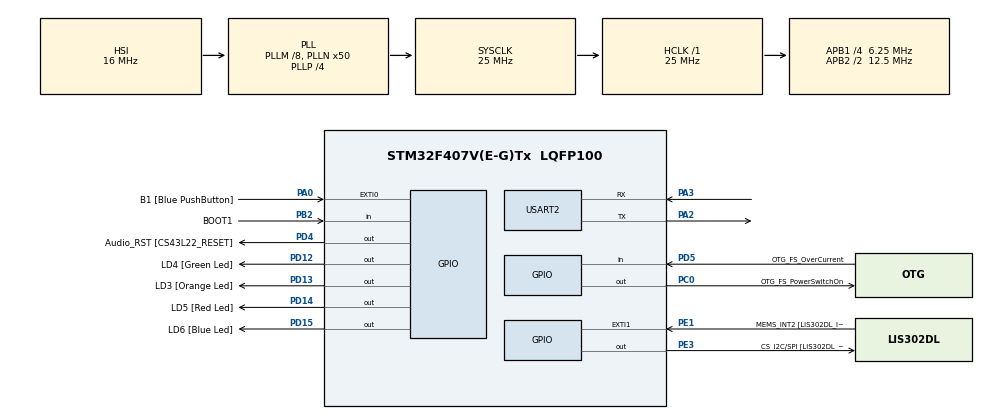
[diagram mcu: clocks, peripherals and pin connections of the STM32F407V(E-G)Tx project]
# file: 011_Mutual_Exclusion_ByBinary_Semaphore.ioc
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Mcu.Family=STM32F4
Mcu.Name=STM32F407V(E-G)Tx
Mcu.Package=LQFP100
NVIC.PriorityGroup=NVIC_PRIORITYGROUP_4
NVIC.TIM6_DAC_IRQn=true\:15\:0\:false\:false\:true\:false\:true\:true
NVIC.TimeBase=TIM6_DAC_IRQn
NVIC.TimeBaseIP=TIM6
PA0-WKUP.GPIO_Label=B1 [Blue PushButton]
PA0-WKUP.Signal=GPXTI0
PA10.GPIO_Label=OTG_FS_ID
PA10.GPIO_Mode=GPIO_MODE_AF_PP
PA10.GPIO_PuPd=GPIO_NOPULL
PA10.GPIO_Speed=GPIO_SPEED_FREQ_LOW
PA10.Signal=USB_OTG_FS_ID
PA11.GPIO_Label=OTG_FS_DM
PA11.GPIO_Mode=GPIO_MODE_AF_PP
PA11.GPIO_PuPd=GPIO_NOPULL
PA11.GPIO_Speed=GPIO_SPEED_FREQ_LOW
PA11.Signal=USB_OTG_FS_DM
PA12.GPIO_Label=OTG_FS_DP
PA12.GPIO_Mode=GPIO_MODE_AF_PP
PA12.GPIO_PuPd=GPIO_NOPULL
PA12.GPIO_Speed=GPIO_SPEED_FREQ_LOW
PA12.Signal=USB_OTG_FS_DP
PA13.GPIO_Label=SWDIO
PA13.Signal=SYS_JTMS-SWDIO
PA14.GPIO_Label=SWCLK
PA14.Signal=SYS_JTCK-SWCLK
PA2.Mode=Asynchronous
PA2.Signal=USART2_TX
PA3.Mode=Asynchronous
PA3.Signal=USART2_RX
PA4.GPIO_Label=I2S3_WS [CS43L22_LRCK]
PA4.GPIO_Mode=GPIO_MODE_AF_PP
PA4.GPIO_PuPd=GPIO_NOPULL
PA4.GPIO_Speed=GPIO_SPEED_FREQ_LOW
PA4.Signal=I2S3_WS
PA5.GPIO_Label=SPI1_SCK [LIS302DL_SCL/SPC]
PA5.GPIO_Mode=GPIO_MODE_AF_PP
PA5.GPIO_PuPd=GPIO_NOPULL
PA5.GPIO_Speed=GPIO_SPEED_FREQ_LOW
PA5.Signal=SPI1_SCK
PA6.GPIO_Label=SPI1_MISO [LIS302DL_SDO]
PA6.GPIO_Mode=GPIO_MODE_AF_PP
PA6.GPIO_PuPd=GPIO_NOPULL
PA6.GPIO_Speed=GPIO_SPEED_FREQ_LOW
PA6.Signal=SPI1_MISO
PA7.GPIO_Label=SPI1_MOSI [LIS302DL_SDA/SDI/SDO]
PA7.GPIO_Mode=GPIO_MODE_AF_PP
PA7.GPIO_PuPd=GPIO_NOPULL
PA7.GPIO_Speed=GPIO_SPEED_FREQ_LOW
PA7.Signal=SPI1_MOSI
PA9.GPIO_Label=VBUS_FS
PA9.GPIO_Mode=GPIO_MODE_INPUT
PA9.GPIO_PuPd=GPIO_NOPULL
PA9.Signal=USB_OTG_FS_VBUS
PB10.GPIO_Label=CLK_IN [MP45DT02_CLK]
PB10.GPIO_Mode=GPIO_MODE_AF_PP
PB10.GPIO_PuPd=GPIO_NOPULL
PB10.GPIO_Speed=GPIO_SPEED_FREQ_LOW
PB10.Signal=I2S2_CK
PB2.GPIO_Label=BOOT1
PB2.GPIO_Mode=GPIO_MODE_INPUT
PB2.GPIO_PuPd=GPIO_NOPULL
PB2.Signal=GPIO_Input
PB3.GPIO_Label=SWO
PB3.Signal=SYS_JTDO-SWO
PB6.GPIO_Label=Audio_SCL [CS43L22_SCL]
PB6.GPIO_Mode=GPIO_MODE_AF_OD
PB6.GPIO_PuPd=GPIO_NOPULL
PB6.GPIO_Speed=GPIO_SPEED_FREQ_LOW
PB6.Signal=I2C1_SCL
PB9.GPIO_Label=Audio_SDA [CS43L22_SDA]
PB9.GPIO_Mode=GPIO_MODE_AF_OD
PB9.GPIO_PuPd=GPIO_NOPULL
PB9.GPIO_Speed=GPIO_SPEED_FREQ_LOW
PB9.Signal=I2C1_SDA
PC0.GPIO_Label=OTG_FS_PowerSwitchOn
PC0.GPIO_PuPd=GPIO_NOPULL
PC0.GPIO_Speed=GPIO_SPEED_FREQ_LOW
PC0.PinState=GPIO_PIN_SET
PC0.Signal=GPIO_Output
PC10.GPIO_Label=I2S3_SCK [CS43L22_SCLK]
PC10.GPIO_Mode=GPIO_MODE_AF_PP
PC10.GPIO_PuPd=GPIO_NOPULL
PC10.GPIO_Speed=GPIO_SPEED_FREQ_LOW
PC10.Signal=I2S3_CK
PC12.GPIO_Label=I2S3_SD [CS43L22_SDIN]
PC12.GPIO_Mode=GPIO_MODE_AF_PP
PC12.GPIO_PuPd=GPIO_NOPULL
PC12.GPIO_Speed=GPIO_SPEED_FREQ_LOW
PC12.Signal=I2S3_SD
PC14-OSC32_IN.GPIO_Label=PC14-OSC32_IN
PC14-OSC32_IN.Signal=RCC_OSC32_IN
PC15-OSC32_OUT.GPIO_Label=PC15-OSC32_OUT
PC15-OSC32_OUT.Signal=RCC_OSC32_OUT
PC3.GPIO_Label=PDM_OUT [MP45DT02_DOUT]
PC3.GPIO_Mode=GPIO_MODE_AF_PP
PC3.GPIO_PuPd=GPIO_NOPULL
PC3.GPIO_Speed=GPIO_SPEED_FREQ_LOW
PC3.Signal=I2S2_SD
PC7.GPIO_Label=I2S3_MCK [CS43L22_MCLK]
PC7.GPIO_Mode=GPIO_MODE_AF_PP
PC7.GPIO_PuPd=GPIO_NOPULL
PC7.GPIO_Speed=GPIO_SPEED_FREQ_LOW
PC7.Signal=I2S3_MCK
PD12.GPIO_Label=LD4 [Green Led]
PD12.GPIO_PuPd=GPIO_NOPULL
PD12.GPIO_Speed=GPIO_SPEED_FREQ_LOW
PD12.Signal=GPIO_Output
PD13.GPIO_Label=LD3 [Orange Led]
PD13.GPIO_PuPd=GPIO_NOPULL
PD13.GPIO_Speed=GPIO_SPEED_FREQ_LOW
PD13.Signal=GPIO_Output
PD14.GPIO_Label=LD5 [Red Led]
PD14.GPIO_PuPd=GPIO_NOPULL
PD14.GPIO_Speed=GPIO_SPEED_FREQ_LOW
PD14.Signal=GPIO_Output
PD15.GPIO_Label=LD6 [Blue Led]
PD15.GPIO_PuPd=GPIO_NOPULL
PD15.GPIO_Speed=GPIO_SPEED_FREQ_LOW
PD15.Signal=GPIO_Output
PD4.GPIO_Label=Audio_RST [CS43L22_RESET]
PD4.GPIO_PuPd=GPIO_NOPULL
PD4.GPIO_Speed=GPIO_SPEED_FREQ_LOW
PD4.Signal=GPIO_Output
PD5.GPIO_Label=OTG_FS_OverCurrent
PD5.GPIO_Mode=GPIO_MODE_INPUT
PD5.GPIO_PuPd=GPIO_NOPULL
PD5.Signal=GPIO_Input
PE1.GPIO_Label=MEMS_INT2 [LIS302DL_INT2]
PE1.GPIO_ModeDefaultEXTI=GPIO_MODE_EVT_RISING
PE1.GPIO_PuPd=GPIO_NOPULL
PE1.Signal=GPXTI1
PE3.GPIO_Label=CS_I2C/SPI [LIS302DL_CS_I2C/SPI]
PE3.GPIO_PuPd=GPIO_NOPULL
PE3.GPIO_Speed=GPIO_SPEED_FREQ_LOW
PE3.Signal=GPIO_Output
PH0-OSC_IN.GPIO_Label=PH0-OSC_IN
PH0-OSC_IN.Signal=RCC_OSC_IN
PH1-OSC_OUT.GPIO_Label=PH1-OSC_OUT
PH1-OSC_OUT.Signal=RCC_OSC_OUT
ProjectManager.HeapSize=0x200
ProjectManager.StackSize=0x400
ProjectManager.TargetToolchain=STM32CubeIDE
RCC.48MHZClocksFreq_Value=14285714.285714285
RCC.AHBFreq_Value=25000000
RCC.APB1CLKDivider=RCC_HCLK_DIV4
RCC.APB1Freq_Value=6250000
RCC.APB1TimFreq_Value=12500000
RCC.APB2CLKDivider=RCC_HCLK_DIV2
RCC.APB2Freq_Value=12500000
RCC.APB2TimFreq_Value=25000000
RCC.CortexFreq_Value=25000000
RCC.HCLKFreq_Value=25000000
RCC.HSE_VALUE=8000000
RCC.HSI_VALUE=16000000
RCC.LSE_VALUE=32768
RCC.PLLM=8
RCC.PLLN=50
RCC.PLLP=RCC_PLLP_DIV4
RCC.PLLQ=7
RCC.SYSCLKFreq_VALUE=25000000
RCC.SYSCLKSource=RCC_SYSCLKSOURCE_PLLCLK
RCC.VCOOutputFreq_Value=100000000
USART2.VirtualMode=VM_ASYNC
VP_SYS_VS_tim6.Mode=TIM6
board=STM32F407G-DISC1

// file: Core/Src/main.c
/* USER CODE BEGIN Header */
/**
  ******************************************************************************
  * @file           : main.c
  * @brief          : Main program body
  ******************************************************************************
  * @attention
  *
  * Copyright (c) 2024 STMicroelectronics.
  * All rights reserved.
  *
  * This software is licensed under terms that can be found in the LICENSE file
  * in the root directory of this software component.
  * If no LICENSE file comes with this software, it is provided AS-IS.
  *
  ******************************************************************************
  */
/* USER CODE END Header */
#include "main.h"

/* USER CODE BEGIN PTD */
SemaphoreHandle_t handle_semaphore;

/* USER CODE END PTD */

UART_HandleTypeDef huart2;
char*msg[50]={0};

void SystemClock_Config(void);
static void MX_GPIO_Init(void);
static void MX_USART2_UART_Init(void);
/* USER CODE BEGIN PFP */
void task1(void* param);
void task2(void* param);
void printmsg(char *msg);
/* USER CODE END PFP */

int main(void)
{
  /* USER CODE BEGIN 1 */
	BaseType_t status;
  /* USER CODE END 1 */

  /* MCU Configuration--------------------------------------------------------*/

  /* Reset of all peripherals, Initializes the Flash interface and the Systick. */
  HAL_Init();

  /* Configure the system clock */
  SystemClock_Config();

  /* Initialize all configured peripherals */
  MX_GPIO_Init();
  MX_USART2_UART_Init();
  /* USER CODE BEGIN 2 */

  vSemaphoreCreateBinary(handle_semaphore);

  status=xTaskCreate(task1, "task1", 500, NULL, 2, NULL);

  status=xTaskCreate(task2, "task2", 500, NULL, 2, NULL);

  vTaskStartScheduler();

  /* USER CODE END 2 */

  /* Infinite loop */
  while (1)
  {

  }
}

void SystemClock_Config(void)
{
  RCC_OscInitTypeDef RCC_OscInitStruct = {0};
  RCC_ClkInitTypeDef RCC_ClkInitStruct = {0};

  /** Configure the main internal regulator output voltage
  */
  __HAL_RCC_PWR_CLK_ENABLE();
  __HAL_PWR_VOLTAGESCALING_CONFIG(PWR_REGULATOR_VOLTAGE_SCALE1);

  /** Initializes the RCC Oscillators according to the specified parameters
  * in the RCC_OscInitTypeDef structure.
  */
  RCC_OscInitStruct.OscillatorType = RCC_OSCILLATORTYPE_HSI;
  RCC_OscInitStruct.HSIState = RCC_HSI_ON;
  RCC_OscInitStruct.HSICalibrationValue = RCC_HSICALIBRATION_DEFAULT;
  RCC_OscInitStruct.PLL.PLLState = RCC_PLL_ON;
  RCC_OscInitStruct.PLL.PLLSource = RCC_PLLSOURCE_HSI;
  RCC_OscInitStruct.PLL.PLLM = 8;
  RCC_OscInitStruct.PLL.PLLN = 50;
  RCC_OscInitStruct.PLL.PLLP = RCC_PLLP_DIV4;
  RCC_OscInitStruct.PLL.PLLQ = 7;
  if (HAL_RCC_OscConfig(&RCC_OscInitStruct) != HAL_OK)
  {
    Error_Handler();
  }

  /** Initializes the CPU, AHB and APB buses clocks
  */
  RCC_ClkInitStruct.ClockType = RCC_CLOCKTYPE_HCLK|RCC_CLOCKTYPE_SYSCLK
                              |RCC_CLOCKTYPE_PCLK1|RCC_CLOCKTYPE_PCLK2;
  RCC_ClkInitStruct.SYSCLKSource = RCC_SYSCLKSOURCE_PLLCLK;
  RCC_ClkInitStruct.AHBCLKDivider = RCC_SYSCLK_DIV1;
  RCC_ClkInitStruct.APB1CLKDivider = RCC_HCLK_DIV4;
  RCC_ClkInitStruct.APB2CLKDivider = RCC_HCLK_DIV2;

  if (HAL_RCC_ClockConfig(&RCC_ClkInitStruct, FLASH_LATENCY_0) != HAL_OK)
  {
    Error_Handler();
  }
}

static void MX_USART2_UART_Init(void)
{

  huart2.Instance = USART2;
  huart2.Init.BaudRate = 115200;
  huart2.Init.WordLength = UART_WORDLENGTH_8B;
  huart2.Init.StopBits = UART_STOPBITS_1;
  huart2.Init.Parity = UART_PARITY_NONE;
  huart2.Init.Mode = UART_MODE_TX_RX;
  huart2.Init.HwFlowCtl = UART_HWCONTROL_NONE;
  huart2.Init.OverSampling = UART_OVERSAMPLING_16;
  if (HAL_UART_Init(&huart2) != HAL_OK)
  {
    Error_Handler();
  }

}

static void MX_GPIO_Init(void)
{
  GPIO_InitTypeDef GPIO_InitStruct = {0};

  /* GPIO Ports Clock Enable */
  __HAL_RCC_GPIOE_CLK_ENABLE();
  __HAL_RCC_GPIOC_CLK_ENABLE();
  __HAL_RCC_GPIOH_CLK_ENABLE();
  __HAL_RCC_GPIOA_CLK_ENABLE();
  __HAL_RCC_GPIOB_CLK_ENABLE();
  __HAL_RCC_GPIOD_CLK_ENABLE();

  /*Configure GPIO pin Output Level */
  HAL_GPIO_WritePin(CS_I2C_SPI_GPIO_Port, CS_I2C_SPI_Pin, GPIO_PIN_RESET);

  /*Configure GPIO pin Output Level */
  HAL_GPIO_WritePin(OTG_FS_PowerSwitchOn_GPIO_Port, OTG_FS_PowerSwitchOn_Pin, GPIO_PIN_SET);

  /*Configure GPIO pin Output Level */
  HAL_GPIO_WritePin(GPIOD, LD4_Pin|LD3_Pin|LD5_Pin|LD6_Pin
                          |Audio_RST_Pin, GPIO_PIN_RESET);

  /*Configure GPIO pin : CS_I2C_SPI_Pin */
  GPIO_InitStruct.Pin = CS_I2C_SPI_Pin;
  GPIO_InitStruct.Mode = GPIO_MODE_OUTPUT_PP;
  GPIO_InitStruct.Pull = GPIO_NOPULL;
  GPIO_InitStruct.Speed = GPIO_SPEED_FREQ_LOW;
  HAL_GPIO_Init(CS_I2C_SPI_GPIO_Port, &GPIO_InitStruct);

  /*Configure GPIO pin : OTG_FS_PowerSwitchOn_Pin */
  GPIO_InitStruct.Pin = OTG_FS_PowerSwitchOn_Pin;
  GPIO_InitStruct.Mode = GPIO_MODE_OUTPUT_PP;
  GPIO_InitStruct.Pull = GPIO_NOPULL;
  GPIO_InitStruct.Speed = GPIO_SPEED_FREQ_LOW;
  HAL_GPIO_Init(OTG_FS_PowerSwitchOn_GPIO_Port, &GPIO_InitStruct);

  /*Configure GPIO pin : PDM_OUT_Pin */
  GPIO_InitStruct.Pin = PDM_OUT_Pin;
  GPIO_InitStruct.Mode = GPIO_MODE_AF_PP;
  GPIO_InitStruct.Pull = GPIO_NOPULL;
  GPIO_InitStruct.Speed = GPIO_SPEED_FREQ_LOW;
  GPIO_InitStruct.Alternate = GPIO_AF5_SPI2;
  HAL_GPIO_Init(PDM_OUT_GPIO_Port, &GPIO_InitStruct);

  /*Configure GPIO pin : B1_Pin */
  GPIO_InitStruct.Pin = B1_Pin;
  GPIO_InitStruct.Mode = GPIO_MODE_IT_RISING;
  GPIO_InitStruct.Pull = GPIO_NOPULL;
  HAL_GPIO_Init(B1_GPIO_Port, &GPIO_InitStruct);

  /*Configure GPIO pin : I2S3_WS_Pin */
  GPIO_InitStruct.Pin = I2S3_WS_Pin;
  GPIO_InitStruct.Mode = GPIO_MODE_AF_PP;
  GPIO_InitStruct.Pull = GPIO_NOPULL;
  GPIO_InitStruct.Speed = GPIO_SPEED_FREQ_LOW;
  GPIO_InitStruct.Alternate = GPIO_AF6_SPI3;
  HAL_GPIO_Init(I2S3_WS_GPIO_Port, &GPIO_InitStruct);

  /*Configure GPIO pins : SPI1_SCK_Pin SPI1_MISO_Pin SPI1_MOSI_Pin */
  GPIO_InitStruct.Pin = SPI1_SCK_Pin|SPI1_MISO_Pin|SPI1_MOSI_Pin;
  GPIO_InitStruct.Mode = GPIO_MODE_AF_PP;
  GPIO_InitStruct.Pull = GPIO_NOPULL;
  GPIO_InitStruct.Speed = GPIO_SPEED_FREQ_LOW;
  GPIO_InitStruct.Alternate = GPIO_AF5_SPI1;
  HAL_GPIO_Init(GPIOA, &GPIO_InitStruct);

  /*Configure GPIO pin : BOOT1_Pin */
  GPIO_InitStruct.Pin = BOOT1_Pin;
  GPIO_InitStruct.Mode = GPIO_MODE_INPUT;
  GPIO_InitStruct.Pull = GPIO_NOPULL;
  HAL_GPIO_Init(BOOT1_GPIO_Port, &GPIO_InitStruct);

  /*Configure GPIO pin : CLK_IN_Pin */
  GPIO_InitStruct.Pin = CLK_IN_Pin;
  GPIO_InitStruct.Mode = GPIO_MODE_AF_PP;
  GPIO_InitStruct.Pull = GPIO_NOPULL;
  GPIO_InitStruct.Speed = GPIO_SPEED_FREQ_LOW;
  GPIO_InitStruct.Alternate = GPIO_AF5_SPI2;
  HAL_GPIO_Init(CLK_IN_GPIO_Port, &GPIO_InitStruct);

  /*Configure GPIO pins : LD4_Pin LD3_Pin LD5_Pin LD6_Pin
                           Audio_RST_Pin */
  GPIO_InitStruct.Pin = LD4_Pin|LD3_Pin|LD5_Pin|LD6_Pin
                          |Audio_RST_Pin;
  GPIO_InitStruct.Mode = GPIO_MODE_OUTPUT_PP;
  GPIO_InitStruct.Pull = GPIO_NOPULL;
  GPIO_InitStruct.Speed = GPIO_SPEED_FREQ_LOW;
  HAL_GPIO_Init(GPIOD, &GPIO_InitStruct);

  /*Configure GPIO pins : I2S3_MCK_Pin I2S3_SCK_Pin I2S3_SD_Pin */
  GPIO_InitStruct.Pin = I2S3_MCK_Pin|I2S3_SCK_Pin|I2S3_SD_Pin;
  GPIO_InitStruct.Mode = GPIO_MODE_AF_PP;
  GPIO_InitStruct.Pull = GPIO_NOPULL;
  GPIO_InitStruct.Speed = GPIO_SPEED_FREQ_LOW;
  GPIO_InitStruct.Alternate = GPIO_AF6_SPI3;
  HAL_GPIO_Init(GPIOC, &GPIO_InitStruct);

  /*Configure GPIO pin : VBUS_FS_Pin */
  GPIO_InitStruct.Pin = VBUS_FS_Pin;
  GPIO_InitStruct.Mode = GPIO_MODE_INPUT;
  GPIO_InitStruct.Pull = GPIO_NOPULL;
  HAL_GPIO_Init(VBUS_FS_GPIO_Port, &GPIO_InitStruct);

  /*Configure GPIO pins : OTG_FS_ID_Pin OTG_FS_DM_Pin OTG_FS_DP_Pin */
  GPIO_InitStruct.Pin = OTG_FS_ID_Pin|OTG_FS_DM_Pin|OTG_FS_DP_Pin;
  GPIO_InitStruct.Mode = GPIO_MODE_AF_PP;
  GPIO_InitStruct.Pull = GPIO_NOPULL;
  GPIO_InitStruct.Speed = GPIO_SPEED_FREQ_LOW;
  GPIO_InitStruct.Alternate = GPIO_AF10_OTG_FS;
  HAL_GPIO_Init(GPIOA, &GPIO_InitStruct);

  /*Configure GPIO pin : OTG_FS_OverCurrent_Pin */
  GPIO_InitStruct.Pin = OTG_FS_OverCurrent_Pin;
  GPIO_InitStruct.Mode = GPIO_MODE_INPUT;
  GPIO_InitStruct.Pull = GPIO_NOPULL;
  HAL_GPIO_Init(OTG_FS_OverCurrent_GPIO_Port, &GPIO_InitStruct);

  /*Configure GPIO pins : Audio_SCL_Pin Audio_SDA_Pin */
  GPIO_InitStruct.Pin = Audio_SCL_Pin|Audio_SDA_Pin;
  GPIO_InitStruct.Mode = GPIO_MODE_AF_OD;
  GPIO_InitStruct.Pull = GPIO_NOPULL;
  GPIO_InitStruct.Speed = GPIO_SPEED_FREQ_LOW;
  GPIO_InitStruct.Alternate = GPIO_AF4_I2C1;
  HAL_GPIO_Init(GPIOB, &GPIO_InitStruct);

  /*Configure GPIO pin : MEMS_INT2_Pin */
  GPIO_InitStruct.Pin = MEMS_INT2_Pin;
  GPIO_InitStruct.Mode = GPIO_MODE_EVT_RISING;
  GPIO_InitStruct.Pull = GPIO_NOPULL;
  HAL_GPIO_Init(MEMS_INT2_GPIO_Port, &GPIO_InitStruct);

}

/* USER CODE BEGIN 4 */

void task1(void*param)
{

   while(1)
   {
	   /*By using SemaphoreTake before printing and after giving the semaphore we are ensuring
	    the global variables between those API are not getting corrupted*/
	    xSemaphoreTake(handle_semaphore,portMAX_DELAY);
		sprintf(msg,"Task1 \r\n");
		printmsg(msg);
	    xSemaphoreGive(handle_semaphore);
		vTaskDelay(pdMS_TO_TICKS(10));

   }
}

void task2(void*param)
{

    /* As per most tasks, this task is implemented within an infinite loop. */
	while(1)
    {
	   	  xSemaphoreTake(handle_semaphore,portMAX_DELAY);
		  sprintf(msg,"Task2 \r\n");
		  printmsg(msg);
		  xSemaphoreGive(handle_semaphore);
		  vTaskDelay(pdMS_TO_TICKS(10));
    }
}

void printmsg(char *msg)
{
    // Assuming USART2 is already initialized using HAL

    // Send each character in the message
    for(uint32_t i = 0; i < strlen(msg); i++)
    {
        // Transmit each character
        HAL_UART_Transmit(&huart2, (uint8_t *)&msg[i], 1, HAL_MAX_DELAY);
    }

    // Ensure transmission is complete
    // HAL_UART_Transmit blocks until transmission is complete
}

/* USER CODE END 4 */

void HAL_TIM_PeriodElapsedCallback(TIM_HandleTypeDef *htim)
{
  if (htim->Instance == TIM6) {
    HAL_IncTick();
  }
}

void Error_Handler(void)
{
  __disable_irq();
  while (1)
  {
  }
}
